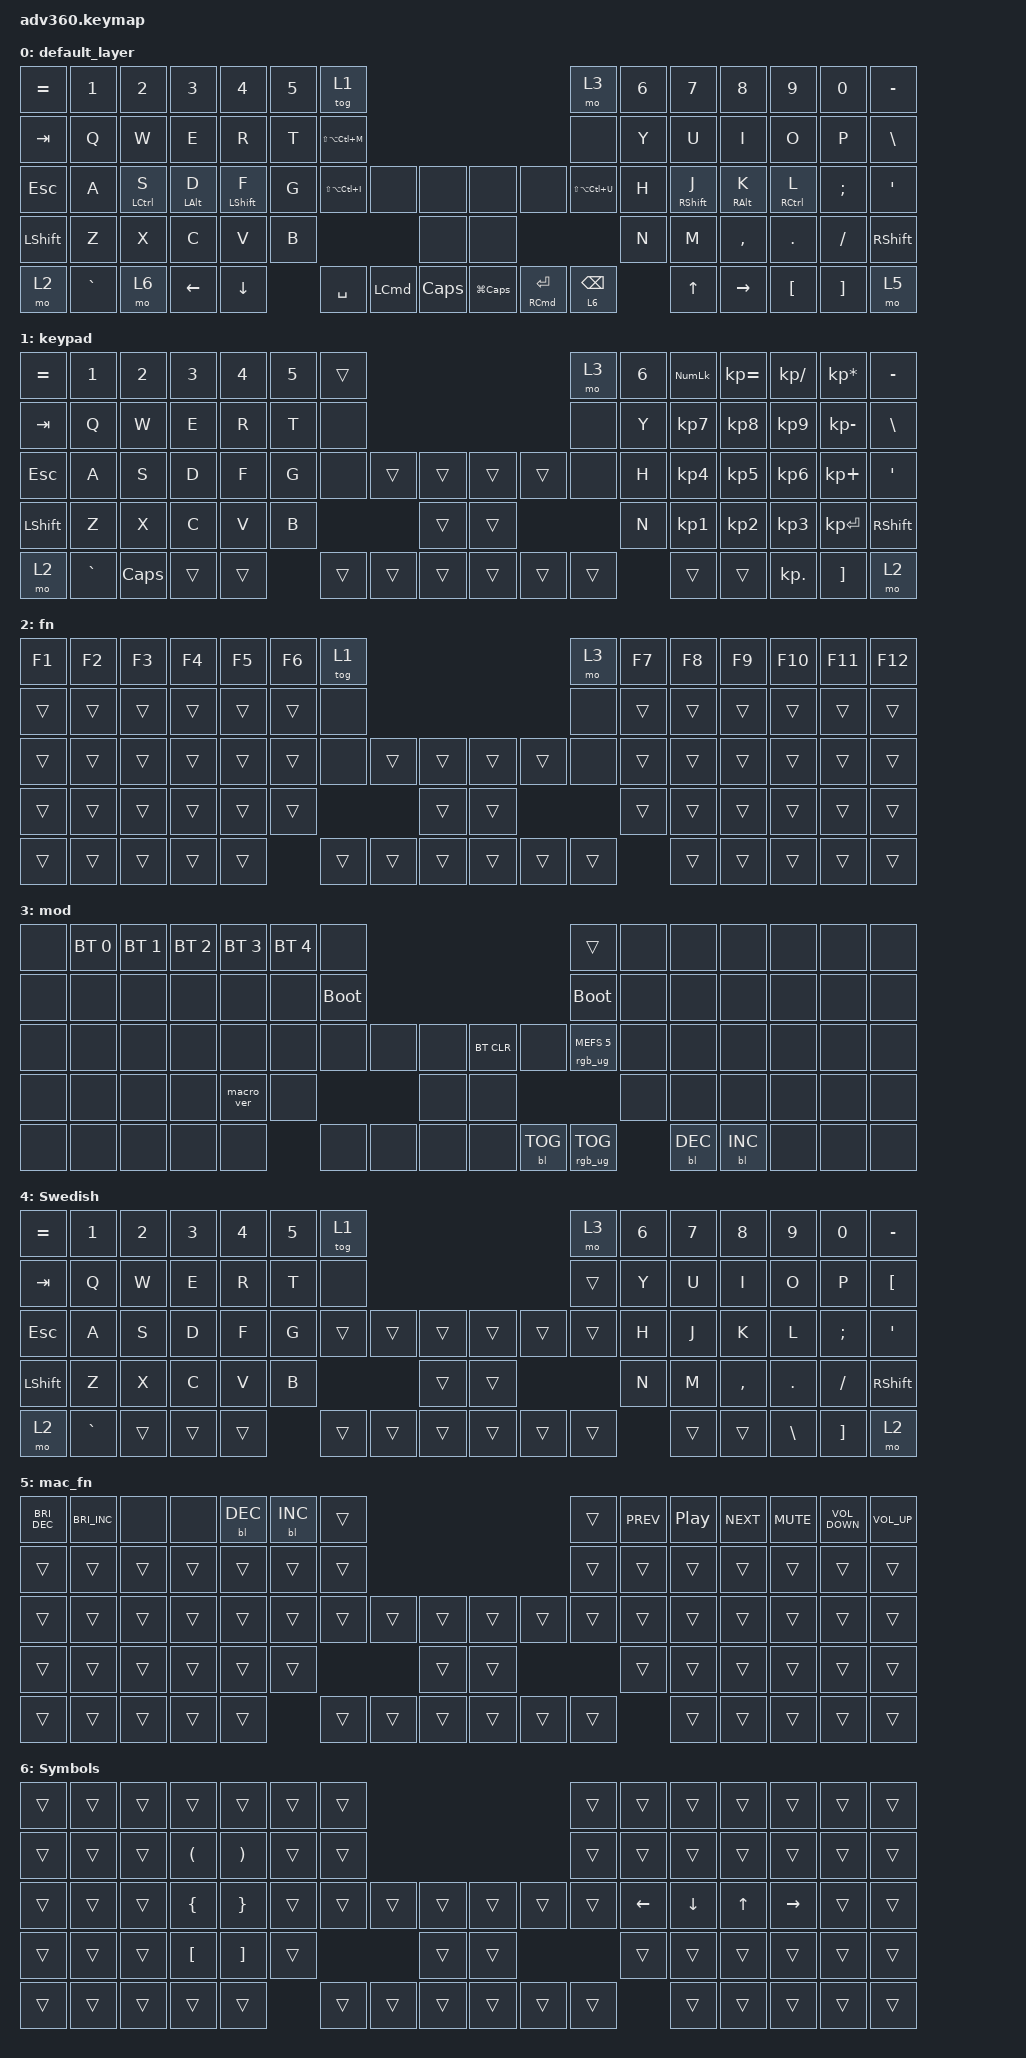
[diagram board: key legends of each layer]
#include <behaviors.dtsi>
#include <dt-bindings/zmk/backlight.h>
#include <dt-bindings/zmk/bt.h>
#include <dt-bindings/zmk/keys.h>
#include <dt-bindings/zmk/rgb.h>

/ {
    behaviors {
        #include "macros.dtsi"
      #include "version.dtsi"
      #ifndef VERSION_MACRO

        macro_ver: macro_ver {
            compatible = "zmk,behavior-macro";
            label = "macro_version";
            #binding-cells = <0>;
            bindings = <&kp RET>;
        };

        next_input_to_swedish_layer: next_input_to_swedish_layer {
            compatible = "zmk,behavior-macro";
            #binding-cells = <0>;
            bindings = <&kp LA(LC(SPACE)) &tog 4>;
            label = "NEXT_INPUT_TO_SWEDISH_LAYER";
        };

        next_input_to_default_layer: next_input_to_default_layer {
            compatible = "zmk,behavior-macro";
            #binding-cells = <0>;
            bindings = <&kp LA(LC(SPACE)) &tog 0>;
            label = "NEXT_INPUT_TO_DEFAULT_LAYER";
        };

        #endif

        hm: homerow_mods {
            compatible = "zmk,behavior-hold-tap";
            label = "HOMEROW_MODS";
            #binding-cells = <2>;
            tapping-term-ms = <200>;
            quick_tap_ms = <175>;
            flavor = "balanced";
            bindings = <&kp>, <&kp>;
        };

        hm_sk: homerow_mods_sticky {
            compatible = "zmk,behavior-hold-tap";
            label = "HOMEROW_MODS_STICKY";
            #binding-cells = <2>;
            tapping-term-ms = <200>;
            quick_tap_ms = <175>;
            flavor = "balanced";
            bindings = <&sk>, <&kp>;
        };
    };

    macros {
    };

    keymap {
        compatible = "zmk,keymap";

        default_layer {
            bindings = <
&kp EQUAL  &kp N1     &kp N2              &kp N3          &kp N4               &kp N5  &tog 1                                                                                             &mo 3              &kp N6  &kp N7                &kp N8           &kp N9               &kp N0    &kp MINUS
&kp TAB    &kp Q      &kp W               &kp E           &kp R                &kp T   &kp LS(LA(LC(M)))                                                                                  &none              &kp Y   &kp U                 &kp I            &kp O                &kp P     &kp BSLH
&kp ESC    &kp A      &hm LEFT_CONTROL S  &hm LEFT_ALT D  &hm_sk LEFT_SHIFT F  &kp G   &kp LS(LA(LC(I)))  &none             &none             &none             &none                     &kp LS(LA(LC(U)))  &kp H   &hm_sk RIGHT_SHIFT J  &hm RIGHT_ALT K  &hm RIGHT_CONTROL L  &kp SEMI  &kp SQT
&kp LSHFT  &kp Z      &kp X               &kp C           &kp V                &kp B                                        &none             &none                                                          &kp N   &kp M                 &kp COMMA        &kp DOT              &kp FSLH  &kp RSHFT
&mo 2      &kp GRAVE  &mo 6               &kp LEFT        &kp DOWN                     &kp SPACE          &kp LEFT_COMMAND  &kp CAPSLOCK      &kp LG(CAPSLOCK)  &hm RIGHT_COMMAND RETURN  &lt 6 BACKSPACE            &kp UP                &kp RIGHT        &kp LBKT             &kp RBKT  &mo 5
            >;
        };

        keypad {
            bindings = <
&kp EQUAL  &kp N1     &kp N2    &kp N3  &kp N4  &kp N5  &trans                                      &mo 3   &kp N6  &kp KP_NUM  &kp KP_EQUAL  &kp KP_DIVIDE  &kp KP_MULTIPLY  &kp MINUS
&kp TAB    &kp Q      &kp W     &kp E   &kp R   &kp T   &none                                       &none   &kp Y   &kp KP_N7   &kp KP_N8     &kp KP_N9      &kp KP_MINUS     &kp BSLH
&kp ESC    &kp A      &kp S     &kp D   &kp F   &kp G   &none   &trans  &trans      &trans  &trans  &none   &kp H   &kp KP_N4   &kp KP_N5     &kp KP_N6      &kp KP_PLUS      &kp SQT
&kp LSHFT  &kp Z      &kp X     &kp C   &kp V   &kp B                   &trans      &trans                  &kp N   &kp KP_N1   &kp KP_N2     &kp KP_N3      &kp KP_ENTER     &kp RSHFT
&mo 2      &kp GRAVE  &kp CAPS  &trans  &trans          &trans  &trans  &trans      &trans  &trans  &trans          &trans      &trans        &kp KP_DOT     &kp RBKT         &mo 2
            >;
        };

        fn {
            bindings = <
&kp F1  &kp F2  &kp F3  &kp F4  &kp F5  &kp F6  &tog 1                                      &mo 3   &kp F7  &kp F8  &kp F9  &kp F10  &kp F11  &kp F12
&trans  &trans  &trans  &trans  &trans  &trans  &none                                       &none   &trans  &trans  &trans  &trans   &trans   &trans
&trans  &trans  &trans  &trans  &trans  &trans  &none   &trans  &trans      &trans  &trans  &none   &trans  &trans  &trans  &trans   &trans   &trans
&trans  &trans  &trans  &trans  &trans  &trans                  &trans      &trans                  &trans  &trans  &trans  &trans   &trans   &trans
&trans  &trans  &trans  &trans  &trans          &trans  &trans  &trans      &trans  &trans  &trans          &trans  &trans  &trans   &trans   &trans
            >;
        };

        mod {
            bindings = <
&none  &bt BT_SEL 0  &bt BT_SEL 1  &bt BT_SEL 2  &bt BT_SEL 3  &bt BT_SEL 4  &none                                                  &trans                  &none  &none       &none       &none  &none  &none
&none  &none         &none         &none         &none         &none         &bootloader                                            &bootloader             &none  &none       &none       &none  &none  &none
&none  &none         &none         &none         &none         &none         &none        &none  &none      &bt BT_CLR  &none       &rgb_ug RGB_MEFS_CMD 5  &none  &none       &none       &none  &none  &none
&none  &none         &none         &none         &macro_ver    &none                             &none      &none                                           &none  &none       &none       &none  &none  &none
&none  &none         &none         &none         &none                       &none        &none  &none      &none       &bl BL_TOG  &rgb_ug RGB_TOG                &bl BL_DEC  &bl BL_INC  &none  &none  &none
            >;
        };

        Swedish {
            bindings = <
&kp EQUAL  &kp N1     &kp N2  &kp N3  &kp N4  &kp N5  &tog 1                                      &mo 3   &kp N6  &kp N7  &kp N8     &kp N9    &kp N0    &kp MINUS
&kp TAB    &kp Q      &kp W   &kp E   &kp R   &kp T   &none                                       &trans  &kp Y   &kp U   &kp I      &kp O     &kp P     &kp LBKT
&kp ESC    &kp A      &kp S   &kp D   &kp F   &kp G   &trans  &trans  &trans      &trans  &trans  &trans  &kp H   &kp J   &kp K      &kp L     &kp SEMI  &kp SQT
&kp LSHFT  &kp Z      &kp X   &kp C   &kp V   &kp B                   &trans      &trans                  &kp N   &kp M   &kp COMMA  &kp DOT   &kp FSLH  &kp RSHFT
&mo 2      &kp GRAVE  &trans  &trans  &trans          &trans  &trans  &trans      &trans  &trans  &trans          &trans  &trans     &kp BSLH  &kp RBKT  &mo 2
            >;
        };

        mac_fn {
            bindings = <
&kp C_BRI_DEC  &kp C_BRIGHTNESS_INC  &none   &none   &bl BL_DEC  &bl BL_INC  &trans                                      &trans  &kp C_PREV  &kp C_PLAY_PAUSE  &kp C_NEXT  &kp C_MUTE  &kp C_VOLUME_DOWN  &kp C_VOLUME_UP
&trans         &trans                &trans  &trans  &trans      &trans      &trans                                      &trans  &trans      &trans            &trans      &trans      &trans             &trans
&trans         &trans                &trans  &trans  &trans      &trans      &trans  &trans  &trans      &trans  &trans  &trans  &trans      &trans            &trans      &trans      &trans             &trans
&trans         &trans                &trans  &trans  &trans      &trans                      &trans      &trans                  &trans      &trans            &trans      &trans      &trans             &trans
&trans         &trans                &trans  &trans  &trans                  &trans  &trans  &trans      &trans  &trans  &trans              &trans            &trans      &trans      &trans             &trans
            >;
        };

        Symbols {
            bindings = <
&trans  &trans  &trans  &trans                &trans                 &trans  &trans                                      &trans  &trans    &trans    &trans        &trans     &trans  &trans
&trans  &trans  &trans  &kp LEFT_PARENTHESIS  &kp RIGHT_PARENTHESIS  &trans  &trans                                      &trans  &trans    &trans    &trans        &trans     &trans  &trans
&trans  &trans  &trans  &kp LEFT_BRACE        &kp RIGHT_BRACE        &trans  &trans  &trans  &trans      &trans  &trans  &trans  &kp LEFT  &kp DOWN  &kp UP_ARROW  &kp RIGHT  &trans  &trans
&trans  &trans  &trans  &kp LEFT_BRACKET      &kp RIGHT_BRACKET      &trans                  &trans      &trans                  &trans    &trans    &trans        &trans     &trans  &trans
&trans  &trans  &trans  &trans                &trans                         &trans  &trans  &trans      &trans  &trans  &trans            &trans    &trans        &trans     &trans  &trans
            >;
        };
    };
};
